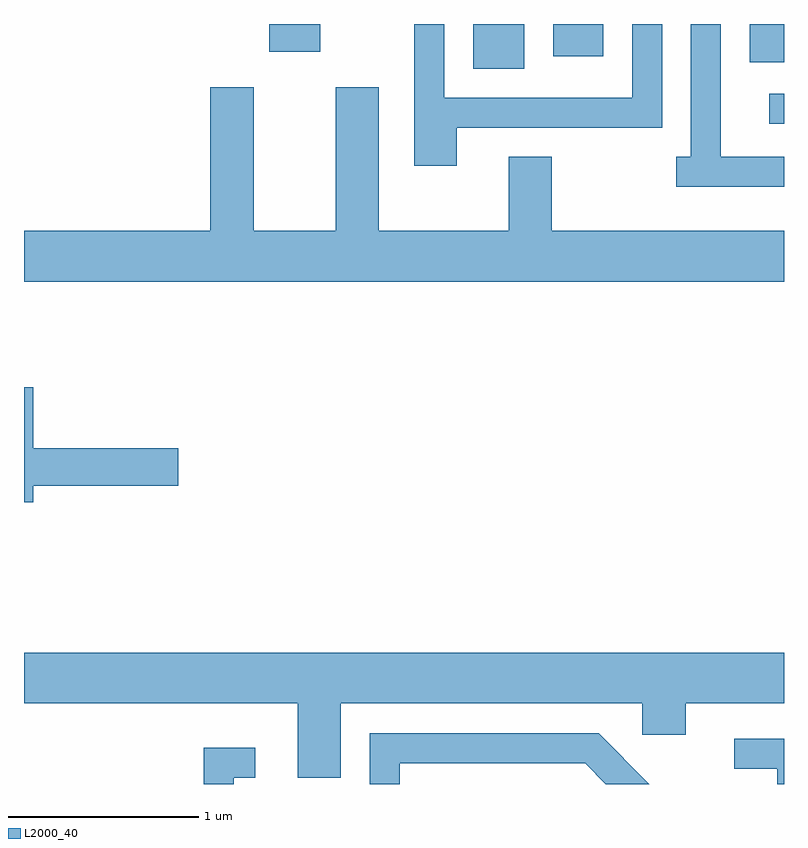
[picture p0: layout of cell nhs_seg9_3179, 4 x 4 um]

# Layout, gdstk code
import gdstk
lib = gdstk.Library(unit=1e-6, precision=1e-09)
def R(c, l, rs):  # rectangles x0, y0, x1, y1
    for r in rs: c.add(gdstk.rectangle(r[:2], r[2:], *l))
def P(c, l, *ps):  # polygons
    for p in ps: c.add(gdstk.Polygon(p, *l))
L2000_40 = (2000, 40)

nhs_seg9_3179 = lib.new_cell('nhs_seg9_3179')
R(nhs_seg9_3179, L2000_40, [(281.533,2065.906,281.611,2066.064), (279.976,2066.196,280.244,2066.432), (281.431,2066.231,281.611,2066.432), (280.396,2066.261,280.659,2066.432), (278.901,2066.286,279.169,2066.432)])
P(nhs_seg9_3179, L2000_40, [(279.889,2065.886),(280.969,2065.886),(280.969,2066.432),(280.811,2066.432),(280.811,2066.044),(279.824,2066.044),(279.824,2066.432),(279.666,2066.432),(279.666,2065.686),(279.889,2065.686)],
  [(281.611,2065.734),(281.279,2065.734),(281.279,2066.432),(281.121,2066.432),(281.121,2065.734),(281.043,2065.734),(281.043,2065.576),(281.611,2065.576)],
  [(281.611,2065.344),(280.389,2065.344),(280.389,2065.734),(280.161,2065.734),(280.161,2065.344),(279.479,2065.344),(279.479,2066.099),(279.251,2066.099),(279.251,2065.344),(278.819,2065.344),(278.819,2066.099),(278.591,2066.099),(278.591,2065.344),(277.611,2065.344),(277.611,2065.076),(281.611,2065.076)],
  [(277.659,2064.001),(278.424,2064.001),(278.424,2064.199),(277.659,2064.199),(277.659,2064.519),(277.611,2064.519),(277.611,2063.916),(277.659,2063.916)],
  [(279.279,2062.856),(280.866,2062.856),(280.866,2062.691),(281.094,2062.691),(281.094,2062.856),(281.611,2062.856),(281.611,2063.124),(277.611,2063.124),(277.611,2062.856),(279.051,2062.856),(279.051,2062.466),(279.279,2062.466)],
  [(279.589,2062.541),(280.564,2062.541),(280.673,2062.432),(280.903,2062.432),(280.637,2062.699),(279.431,2062.699),(279.431,2062.432),(279.589,2062.432)],
  [(281.611,2062.669),(281.348,2062.669),(281.348,2062.511),(281.576,2062.511),(281.576,2062.432),(281.611,2062.432)],
  [(278.714,2062.466),(278.828,2062.466),(278.828,2062.624),(278.556,2062.624),(278.556,2062.432),(278.714,2062.432)])

lib.write_gds('nhs_seg9_3179.gds')
